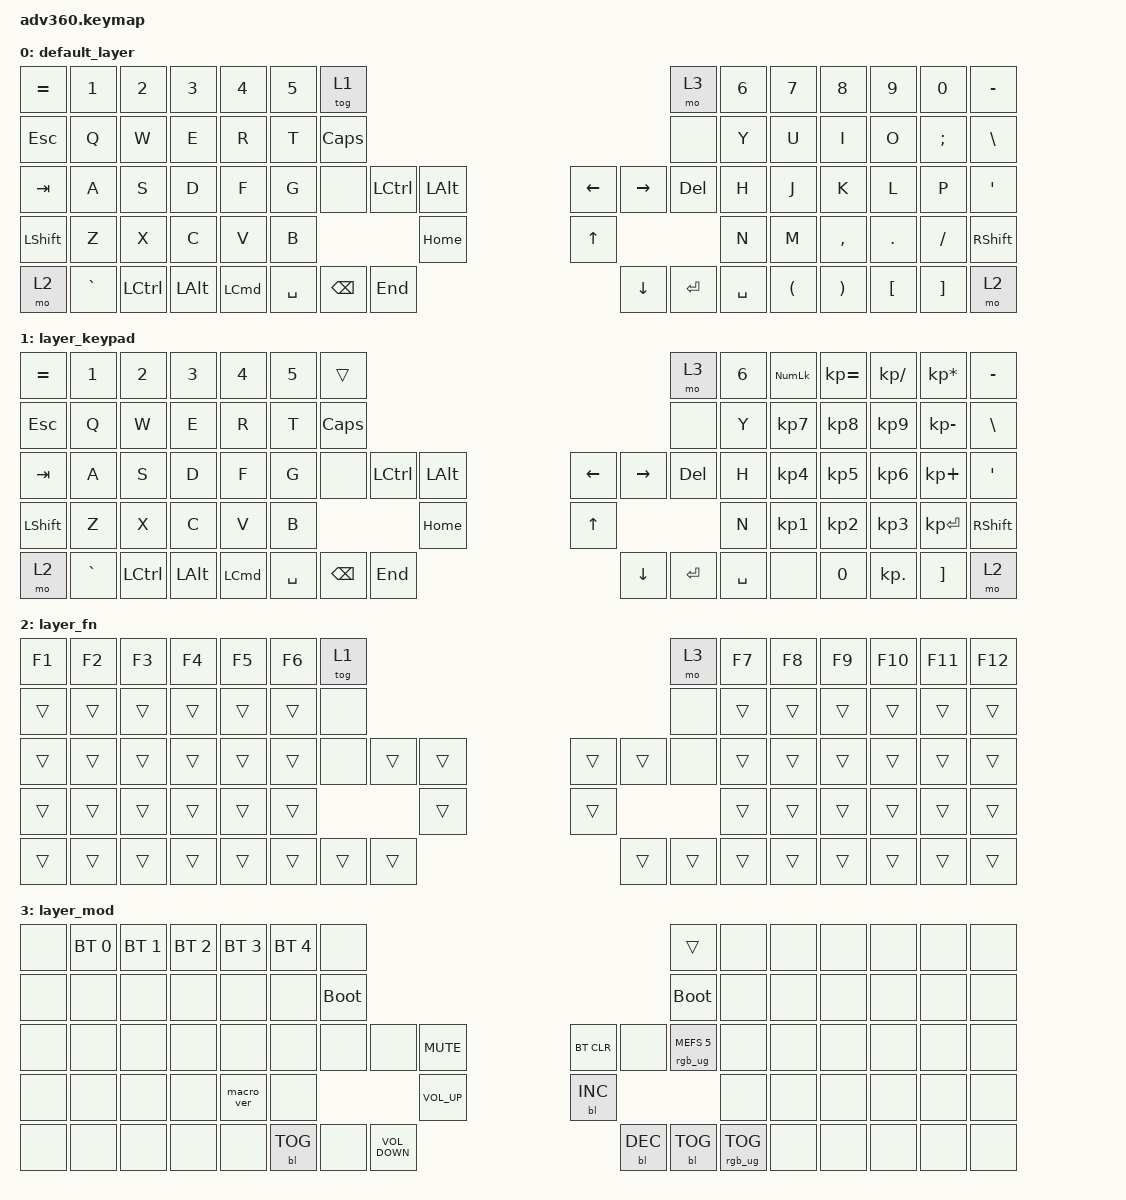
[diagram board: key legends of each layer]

/*
 * Copyright (c) 2020 The ZMK Contributors
 *
 * SPDX-License-Identifier: MIT
 */


/* THIS FILE WAS GENERATED!
 *
 * This file was generated automatically. You may or may not want to
 * edit it directly.
 */

#include <behaviors.dtsi>
#include <dt-bindings/zmk/keys.h>
#include <dt-bindings/zmk/bt.h>
#include <dt-bindings/zmk/rgb.h>
#include <dt-bindings/zmk/backlight.h>

/ {
  behaviors {
    #include "macros.dtsi"
    #include "version.dtsi"

    hm: homerow_mods {
        compatible = "zmk,behavior-hold-tap";
        label = "HOMEROW_MODS";
        #binding-cells = <2>;
        tapping-term-ms = <200>;
        quick_tap_ms = <175>;
        flavor = "tap-preferred";
        bindings = <&kp>, <&kp>;
    };
  };

    keymap {
        compatible = "zmk,keymap";


        default_layer {
            bindings = <
 &kp EQUAL     &kp N1            &kp N2        &kp N3            &kp N4  &kp N5               &tog 1                                                                                &mo 3  &kp N6                &kp N7                 &kp N8    &kp N9         &kp N0  &kp MINUS
   &kp ESC      &kp Q             &kp W         &kp E             &kp R   &kp T             &kp CAPS                                                                                &none   &kp Y                 &kp U                  &kp I     &kp O  &kp SEMICOLON   &kp BSLH
   &kp TAB      &kp A             &kp S         &kp D             &kp F   &kp G                &none      &kp LCTRL  &kp LALT                  &kp LEFT_ARROW  &kp RIGHT_ARROW    &kp DEL   &kp H                 &kp J                  &kp K     &kp L          &kp P    &kp SQT
 &kp LSHFT      &kp Z             &kp X         &kp C             &kp V   &kp B                                      &kp HOME                    &kp UP_ARROW                               &kp N                 &kp M              &kp COMMA   &kp DOT       &kp FSLH  &kp RSHFT
     &mo 2  &kp GRAVE  &kp LEFT_CONTROL  &kp LEFT_ALT  &kp LEFT_COMMAND                    &kp SPACE  &kp BACKSPACE   &kp END                  &kp DOWN_ARROW        &kp ENTER  &kp SPACE          &kp LEFT_PARENTHESIS  &kp RIGHT_PARENTHESIS  &kp LBKT       &kp RBKT      &mo 2
            >;
        };

        layer_keypad {
            bindings = <
 &kp EQUAL     &kp N1            &kp N2        &kp N3            &kp N4  &kp N5               &trans                                                                                &mo 3  &kp N6  &kp KP_NUM  &kp KP_EQUAL  &kp KP_DIVIDE  &kp KP_MULTIPLY  &kp MINUS
   &kp ESC      &kp Q             &kp W         &kp E             &kp R   &kp T             &kp CAPS                                                                                &none   &kp Y   &kp KP_N7     &kp KP_N8      &kp KP_N9     &kp KP_MINUS   &kp BSLH
   &kp TAB      &kp A             &kp S         &kp D             &kp F   &kp G                &none      &kp LCTRL  &kp LALT                  &kp LEFT_ARROW  &kp RIGHT_ARROW    &kp DEL   &kp H   &kp KP_N4     &kp KP_N5      &kp KP_N6      &kp KP_PLUS    &kp SQT
 &kp LSHFT      &kp Z             &kp X         &kp C             &kp V   &kp B                                      &kp HOME                    &kp UP_ARROW                               &kp N   &kp KP_N1     &kp KP_N2      &kp KP_N3     &kp KP_ENTER  &kp RSHFT
     &mo 2  &kp GRAVE  &kp LEFT_CONTROL  &kp LEFT_ALT  &kp LEFT_COMMAND                    &kp SPACE  &kp BACKSPACE   &kp END                  &kp DOWN_ARROW        &kp ENTER  &kp SPACE               &none  &kp NUMBER_0     &kp KP_DOT         &kp RBKT      &mo 2
            >;
        };

        layer_fn {
            bindings = <
 &kp F1  &kp F2  &kp F3  &kp F4  &kp F5  &kp F6            &tog 1                                                   &mo 3  &kp F7  &kp F8  &kp F9  &kp F10  &kp F11  &kp F12
 &trans  &trans  &trans  &trans  &trans  &trans             &none                                                   &none  &trans  &trans  &trans   &trans   &trans   &trans
 &trans  &trans  &trans  &trans  &trans  &trans             &none  &trans  &trans                  &trans  &trans   &none  &trans  &trans  &trans   &trans   &trans   &trans
 &trans  &trans  &trans  &trans  &trans  &trans                            &trans                  &trans                  &trans  &trans  &trans   &trans   &trans   &trans
 &trans  &trans  &trans  &trans  &trans                    &trans  &trans  &trans                  &trans  &trans  &trans          &trans  &trans   &trans   &trans   &trans
            >;
        };

        layer_mod {
            bindings = <
  &none  &bt BT_SEL 0  &bt BT_SEL 1  &bt BT_SEL 2  &bt BT_SEL 3  &bt BT_SEL 4                  &none                                                                                     &trans   &none   &none   &none   &none   &none   &none
  &none         &none         &none         &none         &none         &none            &bootloader                                                                                &bootloader   &none   &none   &none   &none   &none   &none
  &none         &none         &none         &none         &none         &none                  &none   &none         &kp K_MUTE                  &bt BT_CLR       &none  &rgb_ug RGB_MEFS_CMD 5   &none   &none   &none   &none   &none   &none
  &none         &none         &none         &none    &macro_ver         &none                                   &kp K_VOLUME_UP                  &bl BL_INC                                       &none   &none   &none   &none   &none   &none
  &none         &none         &none         &none         &none                           &bl BL_TOG   &none  &kp K_VOLUME_DOWN                  &bl BL_DEC  &bl BL_TOG         &rgb_ug RGB_TOG           &none   &none   &none   &none   &none
            >;
        };

    };
};
